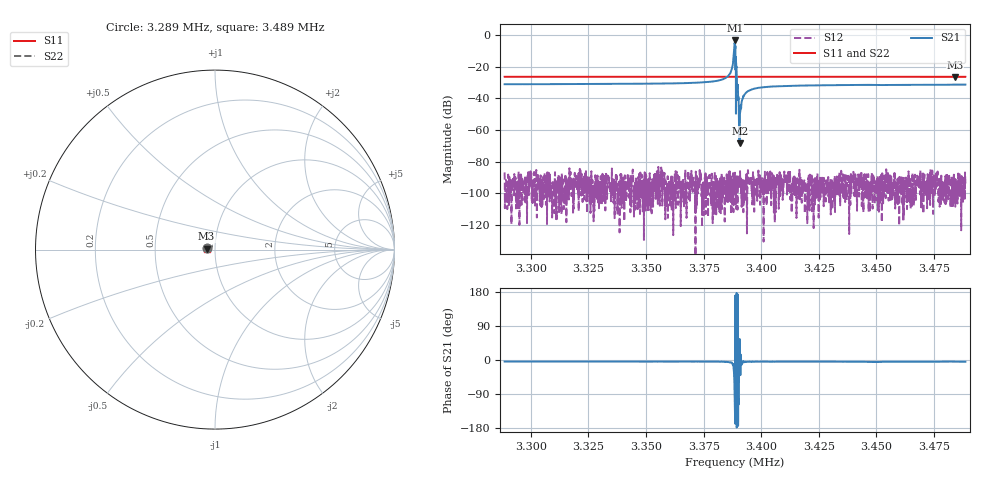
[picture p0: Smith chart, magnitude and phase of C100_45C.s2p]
# Hz S dB R 50.000
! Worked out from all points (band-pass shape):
!   6401 points, 3.289 MHz to 3.489 MHz, reference 50 ohm
!   highest |S21| = -3.49 dB at 3.389 MHz (marker M1); lowest = -68.6 dB at 3.391 MHz (marker M2)
!   |S21| within 3 dB of the highest: 3.388374 MHz to 3.388643 MHz (269 Hz wide, 0.00794 % of centre)
!   lowest |S11| = -26.5 dB at 3.484 MHz (marker M3), VSWR 1.10, Z = 45.5 + j0.46 ohm
!   |S11| at or under -10 dB: start of sweep to end of sweep
!   |S22| runs from -26.5 to -26.4 dB; largest |S21 - S12| = 0.67
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3288594  -26.44 172.2  -31.15 -4.1  -86.90 56.7  -26.42 166.6
3321938  -26.45 172.6  -31.03 -4.1  -96.96 38.8  -26.43 167.0
3355282  -26.46 172.8  -30.74 -4.3  -85.66 31.5  -26.44 167.3
3382469  -26.45 173.1  -28.42 -4.3  -96.09 -171.9  -26.45 167.5
3385938  -26.46 173.1  -25.44 -5.5  -86.51 -169.7  -26.45 167.6
3386938  -26.46 173.1  -22.88 -6.7  -96.74 57.3  -26.45 167.6
3387438  -26.46 173.1  -20.02 -9.7  -97.45 32.9  -26.45 167.6
3387813  -26.45 173.1  -16.60 -10.5  -87.27 -66.1  -26.45 167.7
3388594  -26.45 173.1  -3.49 -143.4  -87.06 12.4  -26.43 167.5
3388906  -26.46 173.1  -13.88 -76.7  -94.50 -21.6  -26.44 167.6
3389219  -26.45 173.1  -20.11 168.6  -110.15 -11.5  -26.46 167.6
3389844  -26.46 173.1  -31.74 147.9  -88.31 13.8  -26.46 167.6
3390344  -26.46 173.1  -58.62 -14.7  -92.63 -13.8  -26.45 167.7
3390625  -26.46 173.2  -68.59 55.5  -91.96 34.2  -26.45 167.6
3391250  -26.46 173.2  -46.32 -7.5  -93.01 22.4  -26.45 167.6
3391750  -26.46 173.2  -40.73 -6.3  -108.33 -169.6  -26.45 167.6
3392813  -26.45 173.2  -37.48 -4.9  -93.25 41.5  -26.46 167.7
3396156  -26.46 173.2  -34.34 -4.4  -99.05 83.4  -26.45 167.7
3421938  -26.46 173.4  -31.91 -4.4  -94.10 8.5  -26.46 167.9
3455282  -26.47 173.7  -31.62 -4.6  -104.71 64.6  -26.48 168.3
3484063  -26.48 173.9  -31.41 -4.6  -91.08 19.3  -26.49 168.5
3488594  -26.47 174.0  -31.41 -4.6  -94.15 47.4  -26.49 168.6
